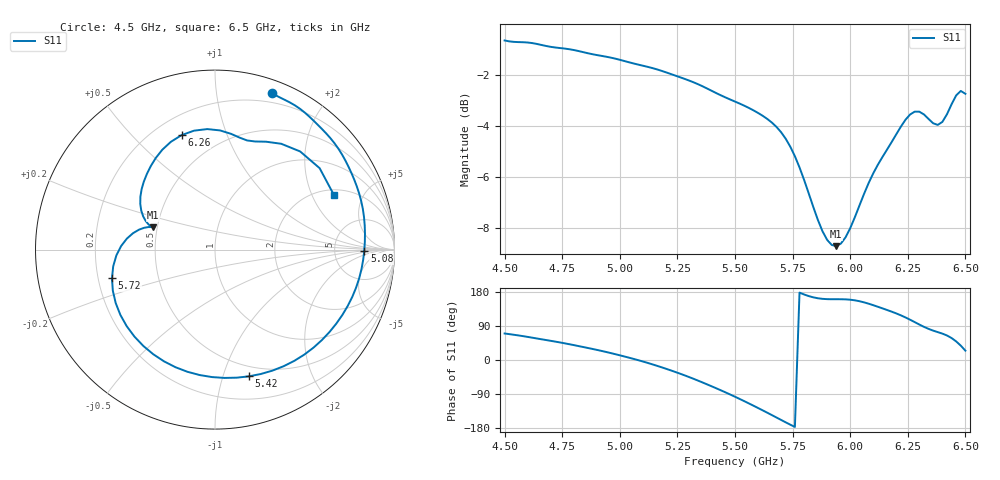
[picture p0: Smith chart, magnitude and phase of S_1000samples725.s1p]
! TOUCHSTONE file generated by CST MICROWAVE STUDIO
! Date and time: Sat Oct 29 04:11:50 2022
! Project name: L.cst
! Parameters = {Di=1.27; Epsilon_r=1.56; InnerDiameter=1.27; Length=2; Lf=10; Lg=60; OuterConductorThickness=0.2921; OuterDiameter=3.6; Wf=3; Wp=41.2; de=1.5; df=6.8; g=0.8; gx=2.45062; gy=1.10377; h=2.34; hf=1.524; px=9.44247; py=12.0057; w=9.7; wx=6.99185; wy=10.9019}
! Header version: 2018
! Port assignment regex: !\s*Touchstone port\s*([0-9]+)\s*=\s*(CST MWS port|CST DS port)\s*([0-9]+|Zmin|Zmax)\s*\(\"(.*)\"\)(\s*mode\s*([0-9]+))?.*
! Touchstone port assignment:
! Touchstone port 1 = CST MWS port 1 ("")
# GHz S DB R 50
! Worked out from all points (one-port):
!   101 points, 4.5 GHz to 6.5 GHz, reference 50 ohm
!   lowest |S11| = -8.7 dB at 5.94 GHz (marker M1), VSWR 2.16, Z = 23.7 + j6.75 ohm
!   |S11| at or under -10 dB: nowhere
!   S11 on the Smith chart (normalised r, x): 4.5 GHz: 0.11, +1.42; 5.08 GHz: 11, -0; 5.42 GHz: 0.40, -1.22; 5.72 GHz: 0.26, -0.13; 6.26 GHz: 0.31, +0.70; 6.5 GHz: 2.27, +2.95
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4.5  -0.66 70.0
4.62  -0.76 58.9
4.76  -0.97 44.1
4.9  -1.23 26.8
5  -1.41 12.4
5.08  -1.60 -0.5
5.18  -1.84 -19.0
5.26  -2.09 -35.7
5.34  -2.37 -54.5
5.42  -2.72 -75.0
5.5  -3.05 -96.9
5.56  -3.29 -114.5
5.62  -3.60 -132.8
5.68  -4.04 -151.7
5.72  -4.50 -164.5
5.76  -5.18 -176.6
5.84  -7.17 165.3
5.94  -8.70 160.4
6  -8.00 159.1
6.08  -6.23 148.6
6.14  -5.21 136.3
6.2  -4.33 122.9
6.26  -3.55 106.3
6.3  -3.44 93.6
6.38  -3.96 73.6
6.44  -3.15 58.0
6.48  -2.63 37.9
6.5  -2.74 24.7
